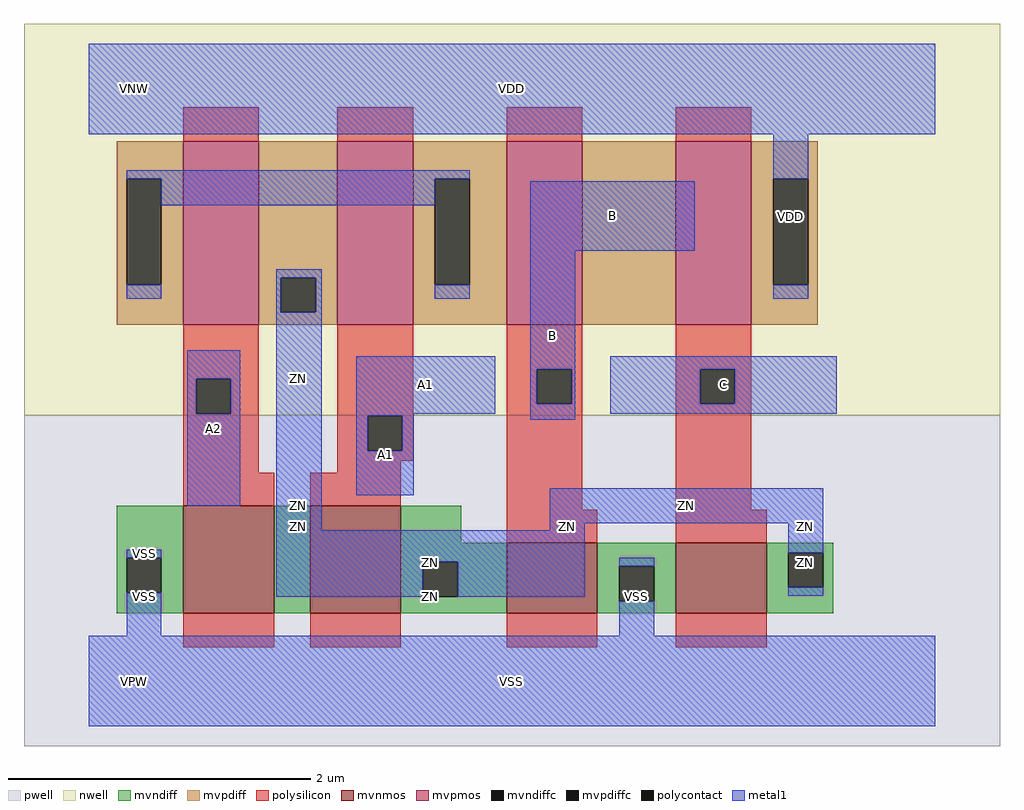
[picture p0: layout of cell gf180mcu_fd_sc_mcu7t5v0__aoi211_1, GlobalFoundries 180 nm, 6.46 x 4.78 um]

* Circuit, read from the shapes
.subckt gf180mcu_fd_sc_mcu7t5v0__aoi211_1 A1 A2 B C ZN VDD VNW VPW VSS
XM1 n1 A2 VSS VPW nfet_06v0 w=0.71u l=0.6u
XM2 ZN A1 n1 VPW nfet_06v0 w=0.71u l=0.6u
XM3 VSS B ZN VPW nfet_06v0 w=0.465u l=0.6u
XM4 ZN C VSS VPW nfet_06v0 w=0.465u l=0.6u
XM5 ZN A2 n2 VNW pfet_06v0 w=1.215u l=0.5u
XM6 n2 A1 ZN VNW pfet_06v0 w=1.215u l=0.5u
XM7 n3 B n2 VNW pfet_06v0 w=1.215u l=0.5u
XM8 VDD C n3 VNW pfet_06v0 w=1.215u l=0.5u
.ends

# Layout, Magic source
magic
tech gf180mcuD
magscale 1 10
<< nwell >>
rect -86 352 1206 870
<< pwell >>
rect -86 -86 1206 352
<< mvnmos >>
rect 125 90 245 232
rect 293 90 413 232
rect 553 90 673 183
rect 777 90 897 183
<< mvpmos >>
rect 125 472 225 715
rect 329 472 429 715
rect 553 472 653 715
rect 777 472 877 715
<< mvndiff >>
rect 37 163 125 232
rect 37 117 50 163
rect 96 117 125 163
rect 37 90 125 117
rect 245 90 293 232
rect 413 183 493 232
rect 413 158 553 183
rect 413 112 442 158
rect 488 112 553 158
rect 413 90 553 112
rect 673 152 777 183
rect 673 106 702 152
rect 748 106 777 152
rect 673 90 777 106
rect 897 170 985 183
rect 897 124 926 170
rect 972 124 985 170
rect 897 90 985 124
<< mvpdiff >>
rect 37 665 125 715
rect 37 525 50 665
rect 96 525 125 665
rect 37 472 125 525
rect 225 534 329 715
rect 225 488 254 534
rect 300 488 329 534
rect 225 472 329 488
rect 429 665 553 715
rect 429 525 458 665
rect 504 525 553 665
rect 429 472 553 525
rect 653 472 777 715
rect 877 665 965 715
rect 877 525 906 665
rect 952 525 965 665
rect 877 472 965 525
<< mvndiffc >>
rect 50 117 96 163
rect 442 112 488 158
rect 702 106 748 152
rect 926 124 972 170
<< mvpdiffc >>
rect 50 525 96 665
rect 254 488 300 534
rect 458 525 504 665
rect 906 525 952 665
<< polysilicon >>
rect 125 715 225 760
rect 329 715 429 760
rect 553 715 653 760
rect 777 715 877 760
rect 125 400 225 472
rect 125 354 142 400
rect 188 354 225 400
rect 125 276 225 354
rect 329 351 429 472
rect 329 305 369 351
rect 415 305 429 351
rect 329 292 429 305
rect 553 413 653 472
rect 553 367 593 413
rect 639 367 653 413
rect 329 276 413 292
rect 125 232 245 276
rect 293 232 413 276
rect 553 227 653 367
rect 777 413 877 472
rect 777 367 809 413
rect 855 367 877 413
rect 777 227 877 367
rect 553 183 673 227
rect 777 183 897 227
rect 125 45 245 90
rect 293 45 413 90
rect 553 45 673 90
rect 777 45 897 90
<< polycontact >>
rect 142 354 188 400
rect 369 305 415 351
rect 593 367 639 413
rect 809 367 855 413
<< metal1 >>
rect 0 724 1120 844
rect 50 665 504 676
rect 96 630 458 665
rect 50 506 96 525
rect 248 534 308 545
rect 248 488 254 534
rect 300 488 308 534
rect 906 665 952 724
rect 458 506 504 525
rect 584 570 802 662
rect 130 400 200 438
rect 130 354 142 400
rect 188 354 200 400
rect 130 232 200 354
rect 248 200 308 488
rect 354 354 538 430
rect 584 413 644 570
rect 906 506 952 525
rect 584 367 593 413
rect 639 367 644 413
rect 354 351 430 354
rect 354 305 369 351
rect 415 305 430 351
rect 584 346 644 367
rect 690 413 990 430
rect 690 367 809 413
rect 855 367 990 413
rect 690 354 990 367
rect 354 246 430 305
rect 610 209 972 255
rect 610 200 656 209
rect 50 163 96 174
rect 50 60 96 117
rect 248 158 656 200
rect 926 170 972 209
rect 248 112 442 158
rect 488 112 656 158
rect 702 152 748 163
rect 926 113 972 124
rect 702 60 748 106
rect 0 -60 1120 60
<< labels >>
flabel metal1 s 584 570 802 662 0 FreeSans 400 0 0 0 B
port 3 nsew default input
flabel metal1 s 690 354 990 430 0 FreeSans 400 0 0 0 C
port 4 nsew default input
flabel metal1 s 0 724 1120 844 0 FreeSans 400 0 0 0 VDD
port 6 nsew power bidirectional abutment
flabel metal1 s 50 163 96 174 0 FreeSans 400 0 0 0 VSS
port 9 nsew ground bidirectional abutment
flabel metal1 s 248 255 308 545 0 FreeSans 400 0 0 0 ZN
port 5 nsew default output
flabel metal1 s 354 354 538 430 0 FreeSans 400 0 0 0 A1
port 1 nsew default input
flabel metal1 s 130 232 200 438 0 FreeSans 400 0 0 0 A2
port 2 nsew default input
flabel nwell s 10 734 110 834 0 FreeSans 400 0 0 0 VNW
port 7 nsew power bidirectional
flabel pwell s 10 -50 110 50 0 FreeSans 400 0 0 0 VPW
port 8 nsew ground bidirectional
rlabel metal1 s 354 246 430 354 1 A1
port 1 nsew default input
rlabel metal1 s 584 346 644 570 1 B
port 3 nsew default input
rlabel metal1 s 610 209 972 255 1 ZN
port 5 nsew default output
rlabel metal1 s 248 209 308 255 1 ZN
port 5 nsew default output
rlabel metal1 s 926 200 972 209 1 ZN
port 5 nsew default output
rlabel metal1 s 610 200 656 209 1 ZN
port 5 nsew default output
rlabel metal1 s 248 200 308 209 1 ZN
port 5 nsew default output
rlabel metal1 s 926 113 972 200 1 ZN
port 5 nsew default output
rlabel metal1 s 248 113 656 200 1 ZN
port 5 nsew default output
rlabel metal1 s 248 112 656 113 1 ZN
port 5 nsew default output
rlabel metal1 s 906 506 952 724 1 VDD
port 6 nsew power bidirectional abutment
rlabel metal1 s 702 60 748 163 1 VSS
port 9 nsew ground bidirectional abutment
rlabel metal1 s 50 60 96 163 1 VSS
port 9 nsew ground bidirectional abutment
rlabel metal1 s 0 -60 1120 60 1 VSS
port 9 nsew ground bidirectional abutment
<< properties >>
string FIXED_BBOX 0 0 1120 784
string GDS_END 1280044
string GDS_FILE $PDKPATH/libs.ref/gf180mcu_fd_sc_mcu7t5v0/gds/gf180mcu_fd_sc_mcu7t5v0.gds
string GDS_START 1276526
string LEFclass core
string LEFsite GF018hv5v_mcu_sc7
string LEFsymmetry X Y
<< end >>
